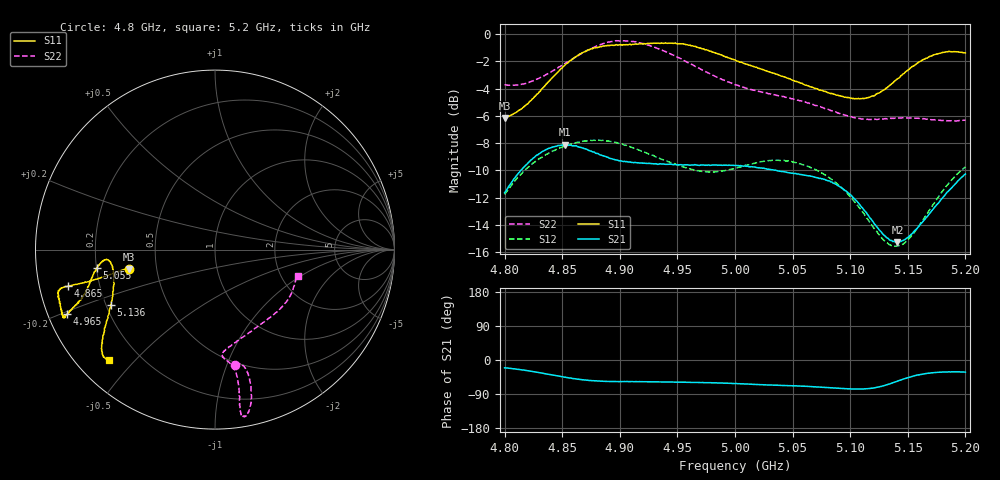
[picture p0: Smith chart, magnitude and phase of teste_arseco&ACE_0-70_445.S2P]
! Network Analyzer HP8722D
! Hewlett-Packard
! Data name: Linha & Wilkinson
! Saver's name: Rodrigo Anjos
! Comments: Teste da utilização de aquisição
! continua pelo VNA HP8722D
! Time and date: 8/5/2025 16:28
!  Frequency  S11  S21  S12  S22
# HZ  S  MA R 50
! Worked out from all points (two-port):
!   401 points, 4.8 GHz to 5.2 GHz, reference 50 ohm
!   highest |S21| = -8.12 dB at 4.852 GHz (marker M1); lowest = -15.3 dB at 5.141 GHz (marker M2)
!   |S21| within 3 dB of the highest: 4.804 GHz to 5.09 GHz (285.6 MHz wide, 5.77 % of centre); 5.189759 GHz to end of sweep
!   lowest |S11| = -6.1 dB at 4.8 GHz (marker M3), VSWR 2.94, Z = 17.2 - j4.87 ohm
!   |S11| at or under -10 dB: nowhere
!   |S22| runs from -6.4 to -0.5 dB; largest |S21 - S12| = 0.62
!   S11 on the Smith chart (normalised r, x): 4.8 GHz: 0.34, -0.10; 4.865 GHz: 0.09, -0.12; 4.965 GHz: 0.06, -0.21; 5.055 GHz: 0.20, -0.07; 5.136 GHz: 0.22, -0.24; 5.2 GHz: 0.09, -0.42
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4.8e9  0.4928 -167.4  0.2619 -20.7  0.2584 -141.9  0.6509 -80.2
4.826e9  0.5888 -166.8  0.3538 -31.3  0.3389 -146.0  0.6768 -75.9
4.852e9  0.7654 -165.9  0.3926 -45.2  0.3884 -150.6  0.7777 -75.2
4.865e9  0.8425 -166.1  0.3846 -51.1  0.4021 -152.7  0.8398 -75.9
4.867e9  0.8517 -166.0  0.3831 -51.9  0.4033 -153.0  0.8491 -76.1
4.899e9  0.9106 -163.1  0.3436 -57.0  0.3975 -157.2  0.9434 -79.8
4.914e9  0.9184 -159.8  0.3379 -57.0  0.3792 -157.6  0.9364 -80.8
4.934e9  0.9247 -156.7  0.334 -57.8  0.3519 -156.0  0.8796 -81.0
4.965e9  0.899 -156.4  0.3323 -59.3  0.3172 -149.0  0.7629 -80.1
5e9  0.8029 -159.4  0.3297 -62.3  0.3222 -137.7  0.6519 -81.6
5.032e9  0.7206 -165.1  0.3182 -66.1  0.3444 -135.0  0.6006 -85.7
5.055e9  0.6649 -171.2  0.307 -68.5  0.3364 -136.7  0.5721 -85.3
5.067e9  0.6382 -173.6  0.3008 -70.1  0.3229 -137.8  0.5523 -82.7
5.084e9  0.6051 -174.8  0.287 -73.4  0.293 -139.4  0.5224 -75.9
5.101e9  0.5816 -171.6  0.2562 -76.3  0.2508 -139.5  0.4978 -65.8
5.116e9  0.5853 -164.3  0.2157 -75.6  0.2074 -135.2  0.4857 -55.0
5.134e9  0.6463 -153.2  0.1762 -63.4  0.1691 -118.7  0.4901 -42.9
5.136e9  0.6571 -152.1  0.1753 -61.2  0.1677 -116.2  0.4905 -41.7
5.141e9  0.6848 -149.4  0.1727 -55.8  0.1675 -109.6  0.4914 -38.8
5.153e9  0.7552 -144.6  0.1847 -43.9  0.1818 -94.8  0.4926 -32.7
5.172e9  0.8368 -139.1  0.2284 -33.6  0.2374 -81.2  0.4843 -24.5
5.2e9  0.8521 -133.8  0.307 -32.0  0.3259 -77.7  0.4836 -17.7
